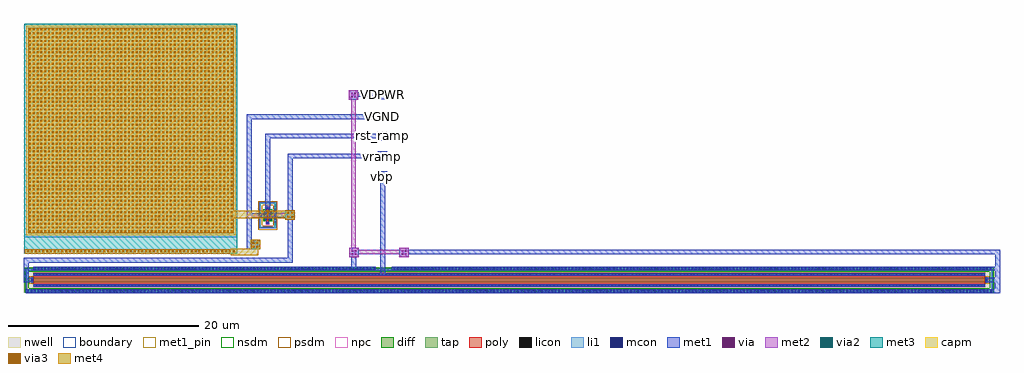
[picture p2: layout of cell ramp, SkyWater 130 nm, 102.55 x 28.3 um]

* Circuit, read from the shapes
.subckt ramp VDPWR VGND rst_ramp vbp vramp
XM1 vramp rst_ramp VGND VGND sky130_fd_pr__nfet_01v8 w=1 l=0.15
XM2 VDPWR vbp vramp VDPWR sky130_fd_pr__pfet_01v8 w=0.5 l=100
XC3 vramp VGND sky130_fd_pr__cap_mim_m3_1 w=22 l=22
.ends

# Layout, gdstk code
from math import pi, radians
import gdstk
lib = gdstk.Library(unit=1e-6, precision=1e-09)
def R(c, l, rs):  # rectangles x0, y0, x1, y1
    for r in rs: c.add(gdstk.rectangle(r[:2], r[2:], *l))
def A(c, l, x, y, w, h, nx, ny, dx, dy):  # array of equal rectangles
    R(c, l, [(x+i*dx, y+j*dy, x+i*dx+w, y+j*dy+h) for i in range(nx) for j in range(ny)])
nwell = (64, 20)
diff = (65, 20)
tap = (65, 44)
poly = (66, 20)
licon = (66, 44)
li1 = (67, 20)
mcon = (67, 44)
met1_pin = (68, 16)
met1 = (68, 20)
via = (68, 44)
met2 = (69, 20)
via2 = (69, 44)
met3 = (70, 20)
via3 = (70, 44)
met4 = (71, 20)
capm = (89, 44)
nsdm = (93, 44)
psdm = (94, 20)
npc = (95, 20)
boundary = (235, 4)

sky130_fd_pr__cap_mim_m3 = lib.new_cell('sky130_fd_pr__cap_mim_m3_1_8PTKPZ')
R(sky130_fd_pr__cap_mim_m3, met3, [(-12.08,-11.2,12.08,11.2)])
A(sky130_fd_pr__cap_mim_m3, via3, 11.72, -10.9, 0.2, 0.2, 1, 55, 0, 0.4)
A(sky130_fd_pr__cap_mim_m3, via3, -11.58, -10.7, 0.2, 0.2, 54, 54, 0.4, 0.4)
R(sky130_fd_pr__cap_mim_m3, met4, [(11.58,-11.14,12.06,11.14), (-11.685,-10.805,9.925,10.805)])
R(sky130_fd_pr__cap_mim_m3, capm, [(-11.88,-11,10.12,11)])
R(sky130_fd_pr__cap_mim_m3, boundary, [(-12.08,-11.2,10.32,11.2)])
sky130_fd_pr__cap_mim_m3.add(gdstk.Label('C1', (-0.88,0), layer=71, texttype=5))
sky130_fd_pr__cap_mim_m3.add(gdstk.Label('C2', (11.82,0), layer=71, texttype=5))

sky130_fd_pr__nfet_01v8_ = lib.new_cell('sky130_fd_pr__nfet_01v8_DQPW2K')
R(sky130_fd_pr__nfet_01v8_, diff, [(-0.365,-0.5,0.365,0.5)])
R(sky130_fd_pr__nfet_01v8_, tap, [(-0.875,-1.37,0.875,-1.2), (-0.875,-1.2,-0.705,1.2), (0.705,-1.2,0.875,1.2), (-0.875,1.2,0.875,1.37)])
R(sky130_fd_pr__nfet_01v8_, poly, [(-0.165,-0.94,0.165,-0.61), (-0.075,-0.61,0.075,0.61), (-0.165,0.61,0.165,0.94)])
A(sky130_fd_pr__nfet_01v8_, licon, -0.875, -0.765, 0.17, 0.17, 1, 5, 0, 0.34)
A(sky130_fd_pr__nfet_01v8_, licon, 0.705, -0.765, 0.17, 0.17, 1, 5, 0, 0.34)
A(sky130_fd_pr__nfet_01v8_, licon, -0.305, -0.425, 0.17, 0.17, 1, 3, 0, 0.34)
A(sky130_fd_pr__nfet_01v8_, licon, 0.135, -0.425, 0.17, 0.17, 1, 3, 0, 0.34)
R(sky130_fd_pr__nfet_01v8_, licon, [(-0.255,-1.37,-0.085,-1.2), (0.085,-1.37,0.255,-1.2), (-0.085,-0.86,0.085,-0.69), (-0.085,0.69,0.085,0.86), (-0.255,1.2,-0.085,1.37), (0.085,1.2,0.255,1.37)])
R(sky130_fd_pr__nfet_01v8_, li1, [(-0.875,-1.37,0.875,-1.2), (-0.875,-1.2,-0.705,1.2), (0.705,-1.2,0.875,1.2), (-0.165,-0.86,0.165,-0.69), (-0.305,-0.52,-0.135,0.52), (0.135,-0.52,0.305,0.52), (-0.165,0.69,0.165,0.86), (-0.875,1.2,0.875,1.37)])
R(sky130_fd_pr__nfet_01v8_, mcon, [(-0.085,-0.86,0.085,-0.69), (-0.305,-0.265,-0.135,-0.095), (0.135,-0.265,0.305,-0.095), (-0.305,0.095,-0.135,0.265), (0.135,0.095,0.305,0.265), (-0.085,0.69,0.085,0.86)])
R(sky130_fd_pr__nfet_01v8_, met1, [(-0.145,-0.89,0.145,-0.66), (-0.335,-0.5,-0.105,0.5), (0.105,-0.5,0.335,0.5), (-0.145,0.66,0.145,0.89)])
R(sky130_fd_pr__nfet_01v8_, nsdm, [(-0.49,-0.625,0.49,0.625)])
R(sky130_fd_pr__nfet_01v8_, psdm, [(-1,-1.495,1,-1.075), (-1,-1.075,-0.58,1.075), (0.58,-1.075,1,1.075), (-1,1.075,1,1.495)])
R(sky130_fd_pr__nfet_01v8_, npc, [(-0.185,-0.96,0.185,-0.59), (-0.185,0.59,0.185,0.96)])
R(sky130_fd_pr__nfet_01v8_, boundary, [(-0.79,-1.285,0.79,1.285)])
sky130_fd_pr__nfet_01v8_.add(gdstk.Label('G', (0,0.775), layer=67, texttype=5))
sky130_fd_pr__nfet_01v8_.add(gdstk.Label('S', (0.22,0), layer=67, texttype=5))
sky130_fd_pr__nfet_01v8_.add(gdstk.Label('D', (-0.22,0), layer=67, texttype=5))
sky130_fd_pr__nfet_01v8_.add(gdstk.Label('B', (0,-1.285), layer=67, texttype=5))

sky130_fd_pr__pfet_01v8_ = lib.new_cell('sky130_fd_pr__pfet_01v8_SLLMKL')
R(sky130_fd_pr__pfet_01v8_, nwell, [(-50.98,-1.345,50.98,1.345)])
R(sky130_fd_pr__pfet_01v8_, diff, [(-50.29,-0.25,50.29,0.25)])
R(sky130_fd_pr__pfet_01v8_, tap, [(-50.8,-1.165,50.8,-0.995), (-50.8,-0.995,-50.63,0.995), (50.63,-0.995,50.8,0.995), (-50.8,0.995,50.8,1.165)])
R(sky130_fd_pr__pfet_01v8_, poly, [(-50,-0.735,50,0.735)])
A(sky130_fd_pr__pfet_01v8_, licon, -50.235, -1.165, 0.17, 0.17, 296, 2, 0.34, 2.16)
A(sky130_fd_pr__pfet_01v8_, licon, -49.895, -0.655, 0.17, 0.17, 294, 2, 0.34, 1.14)
A(sky130_fd_pr__pfet_01v8_, licon, -50.8, -0.595, 0.17, 0.17, 1, 4, 0, 0.34)
A(sky130_fd_pr__pfet_01v8_, licon, 50.63, -0.595, 0.17, 0.17, 1, 4, 0, 0.34)
R(sky130_fd_pr__pfet_01v8_, licon, [(-50.23,-0.085,-50.06,0.085), (50.06,-0.085,50.23,0.085)])
R(sky130_fd_pr__pfet_01v8_, li1, [(-50.8,-1.165,50.8,-0.995), (-50.8,-0.995,-50.63,0.995), (50.63,-0.995,50.8,0.995), (-50,-0.655,50,-0.485), (-50.23,-0.27,-50.06,0.27), (50.06,-0.27,50.23,0.27), (-50,0.485,50,0.655), (-50.8,0.995,50.8,1.165)])
A(sky130_fd_pr__pfet_01v8_, mcon, -49.765, -0.655, 0.17, 0.17, 277, 2, 0.36, 1.14)
R(sky130_fd_pr__pfet_01v8_, mcon, [(-50.23,-0.085,-50.06,0.085), (50.06,-0.085,50.23,0.085)])
R(sky130_fd_pr__pfet_01v8_, met1, [(-49.98,-0.685,49.98,-0.455), (-50.26,-0.25,-50.03,0.25), (50.03,-0.25,50.26,0.25), (-49.98,0.455,49.98,0.685)])
R(sky130_fd_pr__pfet_01v8_, nsdm, [(-50.925,-1.29,50.925,-0.87), (-50.925,-0.87,-50.505,0.87), (50.505,-0.87,50.925,0.87), (-50.925,0.87,50.925,1.29)])
R(sky130_fd_pr__pfet_01v8_, psdm, [(-50.415,-0.375,50.415,0.375)])
R(sky130_fd_pr__pfet_01v8_, npc, [(-49.995,-0.755,49.995,-0.385), (-49.995,0.385,49.995,0.755)])
R(sky130_fd_pr__pfet_01v8_, boundary, [(-50.715,-1.08,50.715,1.08)])
sky130_fd_pr__pfet_01v8_.add(gdstk.Label('G', (0,0.57), layer=67, texttype=5))
sky130_fd_pr__pfet_01v8_.add(gdstk.Label('S', (50.145,0), layer=67, texttype=5))
sky130_fd_pr__pfet_01v8_.add(gdstk.Label('D', (-50.145,0), layer=67, texttype=5))
sky130_fd_pr__pfet_01v8_.add(gdstk.Label('B', (0,-1.08), layer=67, texttype=5))

ramp = lib.new_cell('ramp')
R(ramp, li1, [(-1.05,-15.72,100.48,-15.43), (37.4,-13.33,100.5,-13.08), (-0.33,-13.32,35.69,-13.04), (-0.27,-13.04,35.62,-13.03), (23.39,-7.8,23.67,-7.43)])
A(ramp, mcon, -0.95, -15.66, 0.17, 0.17, 282, 1, 0.36, 0)
A(ramp, mcon, 37.545, -13.29, 0.17, 0.17, 175, 1, 0.36, 0)
A(ramp, mcon, -0.23, -13.26, 0.17, 0.17, 100, 1, 0.36, 0)
R(ramp, mcon, [(23.445,-7.7,23.615,-7.53)])
R(ramp, met1_pin, [(35.88,-3.97,36.88,-2.97), (35.86,-1.87,36.86,-0.87), (35.83,0.25,36.83,1.25), (35.87,2.28,36.87,3.28), (35.83,4.57,36.83,5.57)])
R(ramp, met1, [(-1.11,-15.78,101.26,-15.36), (100.72,-15.36,101.26,-14.64), (-1.29,-14.65,-0.36,-14.15), (99.88,-14.64,101.26,-14.54), (99.77,-14.54,101.26,-14.24), (99.88,-14.24,101.26,-14.14), (-1.29,-14.15,-0.79,-12.58), (100.76,-14.14,101.26,-13.38), (36.15,-13.89,36.65,-3.97), (-0.33,-13.38,35.69,-12.98), (37.33,-13.38,101.26,-13.01), (100.76,-13.01,101.26,-11.7), (33.12,-12.98,33.6,-12), (-1.29,-12.58,26.93,-12.08), (26.43,-12.08,26.93,-8.05), (32.86,-12,33.86,-11), (38.12,-12,39.12,-11.7), (38.12,-11.7,101.26,-11.2), (38.12,-11.2,39.12,-11), (22.51,-11.19,23.51,-11.18), (22.14,-11.18,23.51,-10.19), (22.14,-10.19,22.64,-7.86), (24.16,-8.54,24.47,-8.25), (26.18,-8.05,27.18,-7.81), (22.14,-7.86,24.12,-7.36), (24.54,-7.81,27.18,-7.31), (22.14,-7.36,22.64,2.51), (26.18,-7.31,27.18,-7.05), (26.43,-7.05,26.93,-1.62), (24.08,-6.94,24.58,0.48), (35.88,-3.97,36.88,-2.97), (35.86,-1.87,36.86,-1.62), (26.43,-1.62,36.86,-1.12), (35.86,-1.12,36.86,-0.87), (35.83,0.25,36.83,0.48), (24.08,0.48,36.83,0.98), (35.83,0.98,36.83,1.25), (35.87,2.28,36.87,2.51), (22.14,2.51,36.87,3.01), (35.87,3.01,36.87,3.28), (32.81,4.54,33.81,4.84), (35.83,4.57,36.83,4.84), (32.81,4.84,36.83,5.34), (32.81,5.34,33.81,5.54), (35.83,5.34,36.83,5.57)])
R(ramp, via, [(33.13,-11.735,33.28,-11.585), (33.45,-11.735,33.6,-11.585), (38.39,-11.735,38.54,-11.585), (38.71,-11.735,38.86,-11.585), (33.13,-11.415,33.28,-11.265), (33.45,-11.415,33.6,-11.265), (38.39,-11.415,38.54,-11.265), (38.71,-11.415,38.86,-11.265), (22.78,-10.925,22.93,-10.775), (23.1,-10.925,23.25,-10.775), (22.78,-10.605,22.93,-10.455), (23.1,-10.605,23.25,-10.455), (26.45,-7.775,26.6,-7.625), (26.77,-7.775,26.92,-7.625), (26.45,-7.455,26.6,-7.305), (26.77,-7.455,26.92,-7.305), (33.08,4.805,33.23,4.955), (33.4,4.805,33.55,4.955), (33.08,5.125,33.23,5.275), (33.4,5.125,33.55,5.275)])
R(ramp, met2, [(32.86,-12,33.86,-11.71), (38.12,-12,39.12,-11.71), (32.86,-11.71,39.12,-11.21), (32.86,-11.21,33.86,-11), (38.12,-11.21,39.12,-11), (22.51,-11.19,23.51,-10.19), (33.07,-11,33.57,4.54), (26.18,-8.05,27.18,-7.05), (32.81,4.54,33.81,5.54)])
R(ramp, via2, [(22.715,-10.99,22.915,-10.79), (23.115,-10.99,23.315,-10.79), (22.715,-10.59,22.915,-10.39), (23.115,-10.59,23.315,-10.39), (26.385,-7.84,26.585,-7.64), (26.785,-7.84,26.985,-7.64), (26.385,-7.44,26.585,-7.24), (26.785,-7.44,26.985,-7.24)])
R(ramp, met3, [(22.51,-11.19,23.51,-10.19), (26.18,-8.05,27.18,-7.05)])
R(ramp, via3, [(22.715,-10.99,22.915,-10.79), (23.115,-10.99,23.315,-10.79), (22.715,-10.59,22.915,-10.39), (23.115,-10.59,23.315,-10.39), (26.385,-7.84,26.585,-7.64), (26.785,-7.84,26.985,-7.64), (26.385,-7.44,26.585,-7.24), (26.785,-7.44,26.985,-7.24)])
R(ramp, met4, [(20.41,-11.79,23.345,-11.19), (20.41,-11.19,23.51,-11.12), (22.51,-11.12,23.51,-10.19), (26.18,-8.05,27.18,-7.92), (20.3,-7.92,27.18,-7.12), (26.18,-7.12,27.18,-7.05)])
ramp.add(gdstk.Reference(sky130_fd_pr__cap_mim_m3, (9.94,0.44), rotation=3*pi/2))
ramp.add(gdstk.Reference(sky130_fd_pr__nfet_01v8_, (24.315,-7.61)))
ramp.add(gdstk.Reference(sky130_fd_pr__pfet_01v8_, (49.69,-14.395)))
ramp.add(gdstk.Label('vramp', (36.36,-1.37), layer=68, texttype=5))
ramp.add(gdstk.Label('rst_ramp', (36.33,0.75), layer=68, texttype=5))
ramp.add(gdstk.Label('vbp', (36.38,-3.47), layer=68, texttype=5))
ramp.add(gdstk.Label('VGND', (36.37,2.78), layer=68, texttype=5))
ramp.add(gdstk.Label('VDPWR', (36.33,5.07), layer=68, texttype=5))

lib.write_gds('ramp.gds')
